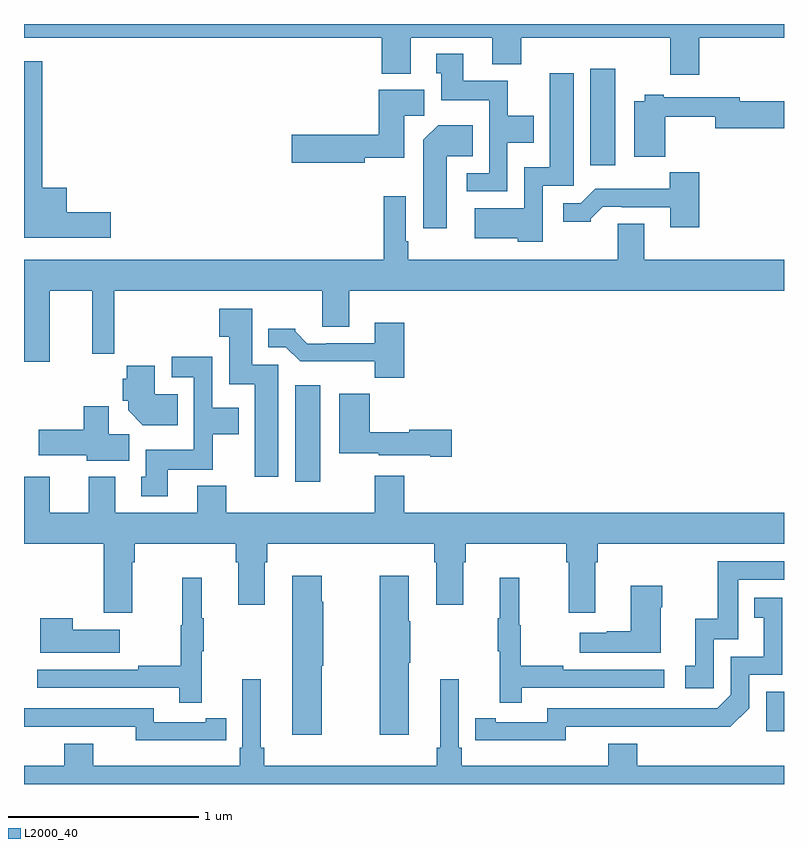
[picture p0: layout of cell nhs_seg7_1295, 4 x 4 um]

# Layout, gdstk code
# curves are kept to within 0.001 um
import gdstk
lib = gdstk.Library(unit=1e-6, precision=1e-09)
def R(c, l, rs):  # rectangles x0, y0, x1, y1
    for r in rs: c.add(gdstk.rectangle(r[:2], r[2:], *l))
def P(c, l, *ps):  # polygons
    for p in ps: c.add(gdstk.Polygon(p, *l))
L2000_40 = (2000, 40)

nhs_seg7_1295 = lib.new_cell('nhs_seg7_1295')
R(nhs_seg7_1295, L2000_40, [(204.906,1018.278,205,1018.485), (202.427,1019.592,202.558,1020.1), (203.981,1021.257,204.112,1021.765)])
P(nhs_seg7_1295, L2000_40, [(204.554,1021.928),(205,1021.928),(205,1022),(201,1022),(201,1021.928),(202.883,1021.928),(202.883,1021.739),(203.035,1021.739),(203.035,1021.928),(203.465,1021.928),(203.465,1021.787),(203.618,1021.787),(203.618,1021.928),(204.401,1021.928),(204.401,1021.734),(204.554,1021.734)],
  [(203.544,1021.376),(203.683,1021.376),(203.683,1021.516),(203.547,1021.516),(203.547,1021.702),(203.311,1021.702),(203.311,1021.843),(203.171,1021.843),(203.171,1021.74),(203.195,1021.74),(203.195,1021.598),(203.448,1021.598),(203.448,1021.215),(203.331,1021.215),(203.331,1021.119),(203.544,1021.119)],
  [(201.457,1021.01),(201.226,1021.01),(201.226,1021.138),(201.097,1021.138),(201.097,1021.804),(201,1021.804),(201,1020.875),(201.457,1020.875)],
  [(203.73,1021.149),(203.893,1021.149),(203.893,1021.741),(203.768,1021.741),(203.768,1021.246),(203.634,1021.246),(203.634,1021.03),(203.373,1021.03),(203.373,1020.872),(203.598,1020.872),(203.598,1020.854),(203.73,1020.854)],
  [(202.794,1021.295),(203.002,1021.295),(203.002,1021.516),(203.107,1021.516),(203.107,1021.654),(202.868,1021.654),(202.868,1021.418),(202.41,1021.418),(202.41,1021.271),(202.794,1021.271)],
  [(204.374,1021.513),(204.638,1021.513),(204.638,1021.451),(205,1021.451),(205,1021.593),(204.766,1021.593),(204.766,1021.614),(204.367,1021.614),(204.367,1021.627),(204.267,1021.627),(204.267,1021.594),(204.212,1021.594),(204.212,1021.301),(204.374,1021.301)],
  [(203.224,1021.304),(203.363,1021.304),(203.363,1021.468),(203.18,1021.468),(203.102,1021.39),(203.102,1020.924),(203.224,1020.924)],
  [(204.554,1021.219),(204.399,1021.219),(204.399,1021.132),(204.007,1021.132),(203.931,1021.056),(203.838,1021.056),(203.838,1020.959),(203.982,1020.959),(203.982,1020.974),(204.046,1021.038),(204.145,1021.038),(204.145,1021.035),(204.401,1021.035),(204.401,1020.93),(204.554,1020.93)],
  [(201.136,1020.596),(201.358,1020.596),(201.358,1020.264),(201.476,1020.264),(201.476,1020.596),(202.571,1020.596),(202.571,1020.406),(202.711,1020.406),(202.711,1020.596),(205,1020.596),(205,1020.76),(204.265,1020.76),(204.265,1020.95),(204.125,1020.95),(204.125,1020.76),(203.023,1020.76),(203.023,1020.856),(203.01,1020.856),(203.01,1021.093),(202.894,1021.093),(202.894,1020.76),(201,1020.76),(201,1020.222),(201.136,1020.222)],
  [(202.339,1020.207),(202.201,1020.207),(202.201,1020.502),(202.028,1020.502),(202.028,1020.355),(202.079,1020.355),(202.079,1020.104),(202.214,1020.104),(202.214,1019.616),(202.339,1019.616)],
  [(203,1020.427),(202.847,1020.427),(202.847,1020.321),(202.591,1020.321),(202.591,1020.318),(202.492,1020.318),(202.428,1020.382),(202.428,1020.397),(202.286,1020.397),(202.286,1020.3),(202.377,1020.3),(202.453,1020.224),(202.845,1020.224),(202.845,1020.137),(203,1020.137)],
  [(201.757,1019.654),(201.993,1019.654),(201.993,1019.84),(202.129,1019.84),(202.129,1019.98),(201.99,1019.98),(201.99,1020.25),(201.777,1020.25),(201.777,1020.141),(201.894,1020.141),(201.894,1019.758),(201.641,1019.758),(201.641,1019.616),(201.617,1019.616),(201.617,1019.514),(201.757,1019.514)],
  [(201.809,1020.052),(201.688,1020.052),(201.688,1020.202),(201.541,1020.202),(201.541,1020.132),(201.521,1020.132),(201.521,1020.018),(201.548,1020.018),(201.548,1019.966),(201.626,1019.888),(201.809,1019.888)],
  [(203.251,1019.864),(203.028,1019.864),(203.028,1019.851),(202.82,1019.851),(202.82,1020.055),(202.658,1020.055),(202.658,1019.741),(202.866,1019.741),(202.866,1019.729),(203.138,1019.729),(203.138,1019.722),(203.251,1019.722)],
  [(201.553,1019.84),(201.446,1019.84),(201.446,1019.989),(201.314,1019.989),(201.314,1019.864),(201.078,1019.864),(201.078,1019.729),(201.33,1019.729),(201.33,1019.702),(201.553,1019.702)],
  [(201.341,1019.617),(201.341,1019.428),(201.136,1019.428),(201.136,1019.617),(201,1019.617),(201,1019.264),(201.419,1019.264),(201.419,1018.902),(201.571,1018.902),(201.571,1019.168),(201.584,1019.168),(201.584,1019.264),(202.115,1019.264),(202.115,1019.168),(202.127,1019.168),(202.127,1018.944),(202.267,1018.944),(202.267,1019.168),(202.28,1019.168),(202.28,1019.264),(203.159,1019.264),(203.159,1019.168),(203.171,1019.168),(203.171,1018.944),(203.311,1018.944),(203.311,1019.168),(203.324,1019.168),(203.324,1019.264),(203.855,1019.264),(203.855,1019.168),(203.867,1019.168),(203.867,1018.902),(204.007,1018.902),(204.007,1019.168),(204.02,1019.168),(204.02,1019.264),(205,1019.264),(205,1019.428),(203,1019.428),(203,1019.623),(202.847,1019.623),(202.847,1019.428),(202.064,1019.428),(202.064,1019.569),(201.911,1019.569),(201.911,1019.428),(201.481,1019.428),(201.481,1019.617)],
  [(204.63,1018.761),(204.759,1018.761),(204.759,1019.076),(205,1019.076),(205,1019.172),(204.651,1019.172),(204.651,1018.87),(204.533,1018.87),(204.533,1018.623),(204.48,1018.623),(204.48,1018.503),(204.63,1018.503)],
  [(203.026,1018.639),(203.034,1018.639),(203.034,1018.856),(203.026,1018.856),(203.026,1019.095),(202.873,1019.095),(202.873,1018.26),(203.026,1018.26)],
  [(202.566,1018.623),(202.576,1018.623),(202.576,1018.959),(202.566,1018.959),(202.566,1019.095),(202.412,1019.095),(202.412,1018.26),(202.566,1018.26)],
  [(203.621,1018.506),(204.37,1018.506),(204.37,1018.602),(203.837,1018.602),(203.837,1018.622),(203.614,1018.622),(203.614,1018.836),(203.606,1018.836),(203.606,1019.086),(203.504,1019.086),(203.504,1018.873),(203.493,1018.873),(203.493,1018.699),(203.504,1018.699),(203.504,1018.428),(203.621,1018.428)],
  [(201.935,1018.699),(201.946,1018.699),(201.946,1018.873),(201.935,1018.873),(201.935,1019.086),(201.832,1019.086),(201.832,1018.836),(201.825,1018.836),(201.825,1018.622),(201.601,1018.622),(201.601,1018.602),(201.069,1018.602),(201.069,1018.506),(201.817,1018.506),(201.817,1018.428),(201.935,1018.428)],
  [(204.352,1018.931),(204.36,1018.931),(204.36,1019.044),(204.194,1019.044),(204.194,1018.805),(204.068,1018.805),(204.068,1018.795),(203.925,1018.795),(203.925,1018.691),(204.352,1018.691)],
  [(203.85,1018.302),(204.718,1018.301),(204.816,1018.398),(204.816,1018.575),(204.99,1018.575),(204.99,1018.981),(204.844,1018.981),(204.844,1018.875),(204.893,1018.875),(204.893,1018.671),(204.72,1018.671),(204.72,1018.47),(204.648,1018.398),(203.754,1018.398),(203.754,1018.326),(203.482,1018.326),(203.482,1018.346),(203.374,1018.346),(203.374,1018.23),(203.85,1018.229)],
  [(201.505,1018.813),(201.257,1018.813),(201.257,1018.873),(201.086,1018.873),(201.086,1018.691),(201.505,1018.691)],
  [(205,1018.096),(204.227,1018.096),(204.227,1018.213),(204.074,1018.213),(204.074,1018.096),(203.303,1018.096),(203.303,1018.192),(203.289,1018.192),(203.289,1018.552),(203.192,1018.552),(203.192,1018.192),(203.173,1018.192),(203.173,1018.096),(202.265,1018.096),(202.265,1018.192),(202.246,1018.192),(202.246,1018.552),(202.149,1018.552),(202.149,1018.192),(202.136,1018.192),(202.136,1018.096),(201.364,1018.096),(201.364,1018.213),(201.212,1018.213),(201.212,1018.096),(201,1018.096),(201,1018),(205,1018)],
  [(201.956,1018.23),(202.064,1018.23),(202.064,1018.346),(201.956,1018.346),(201.956,1018.326),(201.684,1018.326),(201.684,1018.398),(201,1018.398),(201,1018.301),(201.128,1018.301),(201.128,1018.302),(201.588,1018.302),(201.588,1018.229),(201.956,1018.229)])

lib.write_gds('nhs_seg7_1295.gds')
